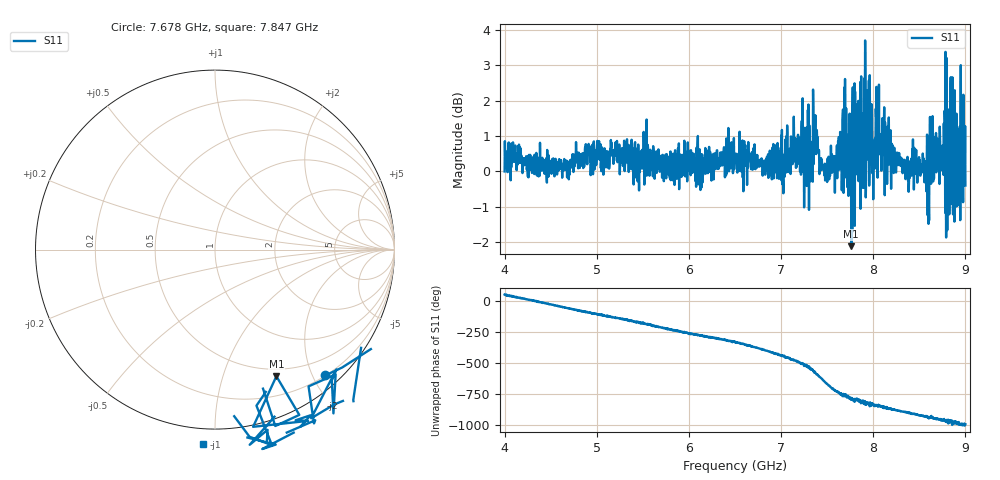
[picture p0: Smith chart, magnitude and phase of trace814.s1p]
! Created with skrf 1.8.0 (http://scikit-rf.org).
# Hz S RI R 50.0
!freq ReS11 ImS11
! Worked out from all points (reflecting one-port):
!   1601 points, 4 GHz to 9 GHz, reference 50 ohm
!   lowest |S11| = -2.1 dB at 7.762 GHz (marker M1), VSWR 8.26, Z = 20.7 - j75.8 ohm
!   phase of S11 starts at 52 deg and turns -1047 deg over the sweep
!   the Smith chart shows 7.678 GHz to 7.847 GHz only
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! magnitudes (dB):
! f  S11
! 4 GHz  0.0
! 4.625 GHz  -0.2
! 5.25 GHz  -0.1
! 5.875 GHz  0.2
! 6.5 GHz  0.4
! 7.031 GHz  0.3
! 7.125 GHz  0.2
! 7.284 GHz  1.2
! 7.328 GHz  0.3
! 7.372 GHz  1.6
! 7.503 GHz  -0.1
! 7.691 GHz  0.8
! 7.75 GHz  0.6
! 7.762 GHz  -2.1
! 7.788 GHz  1.1
! 7.834 GHz  1.5
! 7.875 GHz  0.1
! 7.928 GHz  2.3
! 7.997 GHz  0.7
! 8.053 GHz  0.8
! 8.375 GHz  0.0
! 8.447 GHz  0.0
! 8.581 GHz  0.2
! 8.638 GHz  0.3
! 8.822 GHz  1.2
! 8.869 GHz  -0.4
! 8.972 GHz  0.3
! 9 GHz  -0.4
